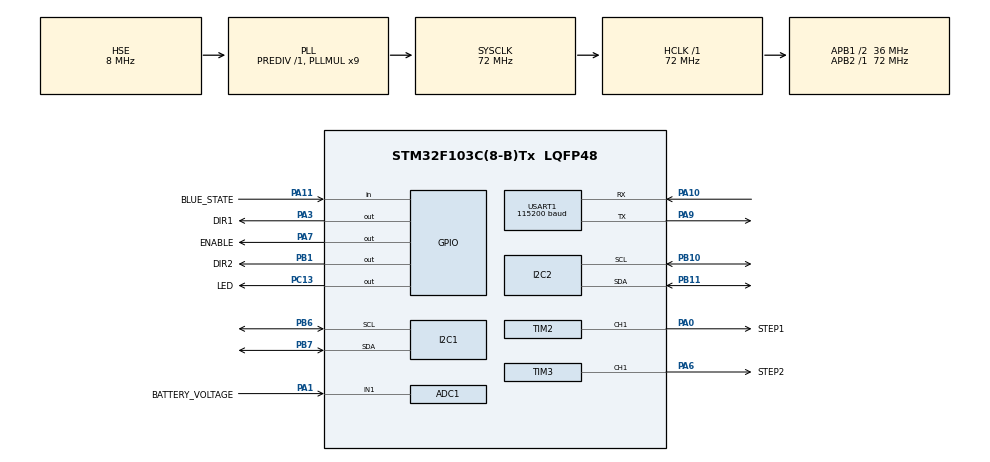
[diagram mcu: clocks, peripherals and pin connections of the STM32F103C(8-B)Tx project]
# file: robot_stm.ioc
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ADC1.Channel-2\#ChannelRegularConversion=ADC_CHANNEL_1
ADC1.NbrOfConversion=1
ADC1.NbrOfConversionFlag=1
ADC1.Rank-2\#ChannelRegularConversion=1
ADC1.SamplingTime-2\#ChannelRegularConversion=ADC_SAMPLETIME_239CYCLES_5
ADC1.master=1
Dma.I2C1_RX.2.Direction=DMA_PERIPH_TO_MEMORY
Dma.I2C1_RX.2.Instance=DMA1_Channel7
Dma.I2C1_RX.2.MemDataAlignment=DMA_MDATAALIGN_BYTE
Dma.I2C1_RX.2.MemInc=DMA_MINC_ENABLE
Dma.I2C1_RX.2.Mode=DMA_NORMAL
Dma.I2C1_RX.2.PeriphDataAlignment=DMA_PDATAALIGN_BYTE
Dma.I2C1_RX.2.PeriphInc=DMA_PINC_DISABLE
Dma.I2C1_RX.2.Priority=DMA_PRIORITY_LOW
Dma.Request0=USART1_RX
Dma.Request1=USART1_TX
Dma.Request2=I2C1_RX
Dma.USART1_RX.0.Direction=DMA_PERIPH_TO_MEMORY
Dma.USART1_RX.0.Instance=DMA1_Channel5
Dma.USART1_RX.0.MemDataAlignment=DMA_MDATAALIGN_BYTE
Dma.USART1_RX.0.MemInc=DMA_MINC_ENABLE
Dma.USART1_RX.0.Mode=DMA_NORMAL
Dma.USART1_RX.0.PeriphDataAlignment=DMA_PDATAALIGN_BYTE
Dma.USART1_RX.0.PeriphInc=DMA_PINC_DISABLE
Dma.USART1_RX.0.Priority=DMA_PRIORITY_LOW
Dma.USART1_TX.1.Direction=DMA_MEMORY_TO_PERIPH
Dma.USART1_TX.1.Instance=DMA1_Channel4
Dma.USART1_TX.1.MemDataAlignment=DMA_MDATAALIGN_BYTE
Dma.USART1_TX.1.MemInc=DMA_MINC_ENABLE
Dma.USART1_TX.1.Mode=DMA_NORMAL
Dma.USART1_TX.1.PeriphDataAlignment=DMA_PDATAALIGN_BYTE
Dma.USART1_TX.1.PeriphInc=DMA_PINC_DISABLE
Dma.USART1_TX.1.Priority=DMA_PRIORITY_LOW
Mcu.Family=STM32F1
Mcu.Name=STM32F103C(8-B)Tx
Mcu.Package=LQFP48
NVIC.ADC1_2_IRQn=true\:5\:0\:true\:false\:true\:true\:true\:true
NVIC.DMA1_Channel4_IRQn=true\:3\:0\:true\:false\:true\:false\:true\:true
NVIC.DMA1_Channel5_IRQn=true\:3\:0\:true\:false\:true\:false\:true\:true
NVIC.DMA1_Channel7_IRQn=true\:1\:0\:true\:false\:true\:false\:true\:true
NVIC.I2C2_EV_IRQn=true\:0\:0\:false\:false\:true\:true\:true\:true
NVIC.PriorityGroup=NVIC_PRIORITYGROUP_4
NVIC.TIM1_UP_IRQn=true\:0\:0\:false\:false\:true\:true\:true\:true
NVIC.TIM2_IRQn=true\:0\:0\:false\:false\:true\:true\:true\:true
NVIC.TIM3_IRQn=true\:0\:0\:false\:false\:true\:true\:true\:true
NVIC.TIM4_IRQn=true\:0\:0\:false\:false\:true\:true\:true\:true
NVIC.USART1_IRQn=true\:3\:0\:true\:false\:true\:true\:true\:true
PA0-WKUP.GPIO_Label=STEP1
PA0-WKUP.Signal=S_TIM2_CH1_ETR
PA1.GPIO_Label=BATTERY_VOLTAGE
PA1.Signal=ADCx_IN1
PA10.Mode=Asynchronous
PA10.Signal=USART1_RX
PA11.GPIO_Label=BLUE_STATE
PA11.Signal=GPIO_Input
PA13.Mode=Serial_Wire
PA13.Signal=SYS_JTMS-SWDIO
PA14.Mode=Serial_Wire
PA14.Signal=SYS_JTCK-SWCLK
PA3.GPIO_Label=DIR1
PA3.Signal=GPIO_Output
PA6.GPIO_Label=STEP2
PA6.Signal=S_TIM3_CH1
PA7.GPIO_Label=ENABLE
PA7.PinState=GPIO_PIN_SET
PA7.Signal=GPIO_Output
PA9.Mode=Asynchronous
PA9.Signal=USART1_TX
PB1.GPIO_Label=DIR2
PB1.Signal=GPIO_Output
PB10.Mode=I2C
PB10.Signal=I2C2_SCL
PB11.Mode=I2C
PB11.Signal=I2C2_SDA
PB6.Mode=I2C
PB6.Signal=I2C1_SCL
PB7.Mode=I2C
PB7.Signal=I2C1_SDA
PC13-TAMPER-RTC.GPIO_Label=LED
PC13-TAMPER-RTC.PinState=GPIO_PIN_SET
PC13-TAMPER-RTC.Signal=GPIO_Output
PD0-OSC_IN.Mode=HSE-External-Oscillator
PD0-OSC_IN.Signal=RCC_OSC_IN
PD1-OSC_OUT.Mode=HSE-External-Oscillator
PD1-OSC_OUT.Signal=RCC_OSC_OUT
ProjectManager.HeapSize=0x100
ProjectManager.StackSize=0x1000
ProjectManager.TargetToolchain=STM32CubeIDE
RCC.ADCPresc=RCC_ADCPCLK2_DIV6
RCC.AHBFreq_Value=72000000
RCC.APB1CLKDivider=RCC_HCLK_DIV2
RCC.APB1Freq_Value=36000000
RCC.APB1TimFreq_Value=72000000
RCC.APB2Freq_Value=72000000
RCC.APB2TimFreq_Value=72000000
RCC.HCLKFreq_Value=72000000
RCC.PLLMUL=RCC_PLL_MUL9
RCC.PLLSourceVirtual=RCC_PLLSOURCE_HSE
RCC.SYSCLKFreq_VALUE=72000000
RCC.SYSCLKSource=RCC_SYSCLKSOURCE_PLLCLK
RCC.USBFreq_Value=72000000
SH.ADCx_IN1.0=ADC1_IN1,IN1
SH.S_TIM2_CH1_ETR.0=TIM2_CH1,PWM Generation1 CH1
SH.S_TIM3_CH1.0=TIM3_CH1,PWM Generation1 CH1
TIM1.Period=9999
TIM1.Prescaler=7199
TIM1.TIM_MasterOutputTrigger=TIM_TRGO_RESET
TIM2.Channel-PWM\ Generation1\ CH1=TIM_CHANNEL_1
TIM2.Prescaler=71
TIM3.Channel-PWM\ Generation1\ CH1=TIM_CHANNEL_1
TIM3.Prescaler=71
TIM4.Period=99
TIM4.Prescaler=7199
USART1.BaudRate=115200
USART1.VirtualMode=VM_ASYNC
VP_TIM1_VS_ClockSourceINT.Mode=Internal
VP_TIM2_VS_ClockSourceINT.Mode=Internal
VP_TIM3_VS_ClockSourceINT.Mode=Internal
VP_TIM4_VS_ClockSourceINT.Mode=Internal
board=custom

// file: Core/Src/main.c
/* USER CODE BEGIN Header */
/**
  ******************************************************************************
  * @file           : main.c
  * @brief          : Main program body
  ******************************************************************************
  * @attention
  *
  * Copyright (c) 2025 STMicroelectronics.
  * All rights reserved.
  *
  * This software is licensed under terms that can be found in the LICENSE file
  * in the root directory of this software component.
  * If no LICENSE file comes with this software, it is provided AS-IS.
  *
  ******************************************************************************
  */
/* USER CODE END Header */

#include "main.h"
#include "adc.h"
#include "dma.h"
#include "i2c.h"
#include "tim.h"
#include "usart.h"
#include "gpio.h"

/* USER CODE BEGIN Includes */
#include <stdio.h>
#include <math.h>

#include "stepper_lib.h"
#include "mpu6050.h"
#include "helpers.h"
#include "robot.h"
#include <communication_interface.h>

/* USER CODE END Includes */

/* USER CODE BEGIN PV */

volatile stepper_typedef stepper1;
volatile stepper_typedef stepper2;

mpu6050_typedef mpu;

extern robot_t robot;
extern communication_interface_t communication_interface;
extern reg_typedef registerMap[REGISTER_MAP_SIZE];

/* USER CODE END PV */

void SystemClock_Config(void);
/* USER CODE BEGIN PFP */

int __io_putchar(int ch)  //for printf
{
    if (ch == '\n') {
        uint8_t ch2 = '\r';
        HAL_UART_Transmit(&huart1, &ch2, 1, HAL_MAX_DELAY);
    }
    HAL_UART_Transmit(&huart1, (uint8_t*)&ch, 1, HAL_MAX_DELAY);
    return 1;
}

void HAL_TIM_PeriodElapsedCallback(TIM_HandleTypeDef *htim)
{
	if(htim == stepper1.htim){
		stepper_update(&stepper1);
	}
	else if(htim == stepper2.htim){
		stepper_update(&stepper2);
	}
	else if (htim == &htim4){
		mpu_get_data_x_angle_DMA(&mpu);
		//HAL_I2C_Mem_Read_IT(&hi2c2, 0x6C, 0x0C, 1, encoder_data_buffer, 2);  //encoder
	}
	else if(htim == &htim1){
		HAL_ADC_Start_IT(&hadc1);
	}
}

void HAL_ADC_ConvCpltCallback(ADC_HandleTypeDef* hadc){
	if(hadc == &hadc1){
		battery_voltage_update(HAL_ADC_GetValue(&hadc1));
	}
}

void HAL_I2C_MemRxCpltCallback(I2C_HandleTypeDef *hi2c){   // DMA transfer complete mpu
	if(hi2c == mpu.hi2c){
		DMA_transfer_complete_callback(&mpu);
		if(robot.control_enable) robot.data_ready = 1;

	}
	else if (hi2c == &hi2c2){  // encoder
		calculate_encoder_angle();
	}
}

/* USER CODE END PFP */

int main(void)
{

  /* MCU Configuration--------------------------------------------------------*/

  /* Reset of all peripherals, Initializes the Flash interface and the Systick. */
  HAL_Init();

  /* Configure the system clock */
  SystemClock_Config();

  /* Initialize all configured peripherals */
  MX_GPIO_Init();
  MX_DMA_Init();
  MX_I2C1_Init();
  MX_TIM2_Init();
  MX_TIM3_Init();
  MX_USART1_UART_Init();
  MX_I2C2_Init();
  MX_TIM4_Init();
  MX_ADC1_Init();
  MX_TIM1_Init();
  /* USER CODE BEGIN 2 */

  /*##################################################
   * 			SETUP begin
   * ##################################################
   */

  robot_init();

  // stepper motor setup
   stepper_init(&stepper1, &htim2, TIM_CHANNEL_1, ENABLE_GPIO_Port, ENABLE_Pin,
 		  DIR1_GPIO_Port, DIR1_Pin, 45, -1);
   stepper_init(&stepper2, &htim3, TIM_CHANNEL_1, ENABLE_GPIO_Port, ENABLE_Pin,
 		  DIR2_GPIO_Port, DIR2_Pin, 45, 1);

   // MPU6050 setup
   mpu_init(&mpu, &hi2c1, 0xD0);
   set_gyro_scale(&mpu, range_250);
   set_accelerometer_scale(&mpu, range_2g);
   mpu_low_pass_filter(&mpu, Acc94Hz_Gyro98Hz);

   HAL_Delay(1000); // gives time to leave the robot stable after turn on
   mpu_gyro_calibration(&mpu);

   // communication protocol setup
   communication_interface_init(&huart1, &hdma_usart1_rx);

   registerMap[0].ptr = &robot.robot_enable;
   registerMap[0].dataSize = sizeof(robot.robot_enable);

   registerMap[1].ptr = &robot.set_pos;
   registerMap[1].dataSize = sizeof(robot.set_pos);

   registerMap[2].ptr = &robot.K1;
   registerMap[2].dataSize = sizeof(robot.K1);

   registerMap[3].ptr = &robot.K2;
   registerMap[3].dataSize = sizeof(robot.K2);

   registerMap[4].ptr = &robot.K3;
   registerMap[4].dataSize = sizeof(robot.K3);

   registerMap[5].ptr = &robot.K4;
   registerMap[5].dataSize = sizeof(robot.K4);

   registerMap[6].ptr = &robot.K5;
   registerMap[6].dataSize = sizeof(robot.K5);
   /*##################################################
    * 			SETUP end
    * ##################################################
    */

   HAL_TIM_Base_Start_IT(&htim4);
   HAL_TIM_Base_Start_IT(&htim1);

   HAL_Delay(100);

  /* USER CODE END 2 */

  /* Infinite loop */
  /* USER CODE BEGIN WHILE */

   while (1)
  {
	if(robot.robot_enable){
		if(fabs(mpu.x_angle) < 0.05 && !robot.control_enable){
			robot_start();
		}
		if(fabs(mpu.x_angle)> 0.8 && robot.control_enable){
			robot_stop();
			HAL_Delay(2000);
		}
  	}
   	else{
   		robot_stop();
   		robot.control_enable = 0;
   	}

	if(robot.robot_enable){
		HAL_GPIO_WritePin(LED_GPIO_Port, LED_Pin, GPIO_PIN_RESET);
	}
	else{
		HAL_GPIO_WritePin(LED_GPIO_Port, LED_Pin, GPIO_PIN_SET);
	}

	if(robot.control_enable && robot.data_ready){
		control_step();

		//send data
		if(communication_interface.uart_tx_ready){
//		uint16_t size = snprintf((char*)communication_interface.transmit_buffer, Tx_BUFFER_SIZE,
//				"%.3f, %.3f, %.3f, %ld\r\n", mpu.x_angle, robot.d_angle, robot.speed_delta, HAL_GetTick());
		uint16_t size = snprintf((char*)communication_interface.transmit_buffer, Tx_BUFFER_SIZE,
				"%.3f,%.3f,%.3f,%0.3f\n", mpu.x_angle, robot.d_angle, robot.pos, robot.d_pos);
		uart_send_buffer(size);
		}

	}

	execute_command();

    /* USER CODE END WHILE */

  }
}

void SystemClock_Config(void)
{
  RCC_OscInitTypeDef RCC_OscInitStruct = {0};
  RCC_ClkInitTypeDef RCC_ClkInitStruct = {0};
  RCC_PeriphCLKInitTypeDef PeriphClkInit = {0};

  /** Initializes the RCC Oscillators according to the specified parameters
  * in the RCC_OscInitTypeDef structure.
  */
  RCC_OscInitStruct.OscillatorType = RCC_OSCILLATORTYPE_HSE;
  RCC_OscInitStruct.HSEState = RCC_HSE_ON;
  RCC_OscInitStruct.HSEPredivValue = RCC_HSE_PREDIV_DIV1;
  RCC_OscInitStruct.HSIState = RCC_HSI_ON;
  RCC_OscInitStruct.PLL.PLLState = RCC_PLL_ON;
  RCC_OscInitStruct.PLL.PLLSource = RCC_PLLSOURCE_HSE;
  RCC_OscInitStruct.PLL.PLLMUL = RCC_PLL_MUL9;
  if (HAL_RCC_OscConfig(&RCC_OscInitStruct) != HAL_OK)
  {
    Error_Handler();
  }

  /** Initializes the CPU, AHB and APB buses clocks
  */
  RCC_ClkInitStruct.ClockType = RCC_CLOCKTYPE_HCLK|RCC_CLOCKTYPE_SYSCLK
                              |RCC_CLOCKTYPE_PCLK1|RCC_CLOCKTYPE_PCLK2;
  RCC_ClkInitStruct.SYSCLKSource = RCC_SYSCLKSOURCE_PLLCLK;
  RCC_ClkInitStruct.AHBCLKDivider = RCC_SYSCLK_DIV1;
  RCC_ClkInitStruct.APB1CLKDivider = RCC_HCLK_DIV2;
  RCC_ClkInitStruct.APB2CLKDivider = RCC_HCLK_DIV1;

  if (HAL_RCC_ClockConfig(&RCC_ClkInitStruct, FLASH_LATENCY_2) != HAL_OK)
  {
    Error_Handler();
  }
  PeriphClkInit.PeriphClockSelection = RCC_PERIPHCLK_ADC;
  PeriphClkInit.AdcClockSelection = RCC_ADCPCLK2_DIV6;
  if (HAL_RCCEx_PeriphCLKConfig(&PeriphClkInit) != HAL_OK)
  {
    Error_Handler();
  }
}

void Error_Handler(void)
{
  __disable_irq();
  while (1)
  {
  }
}
